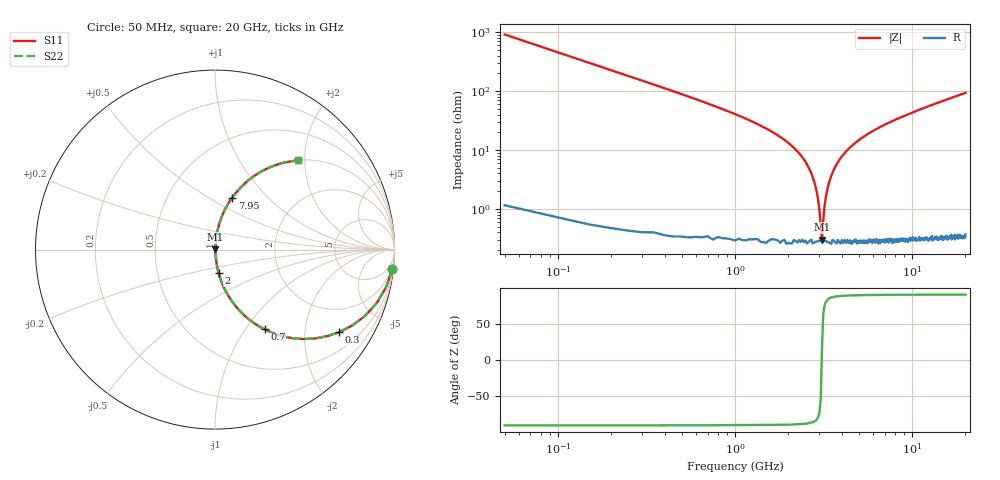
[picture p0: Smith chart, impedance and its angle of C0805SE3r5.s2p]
! AVX Thin Film Operation		Date: April 2012
! Description: Accu-P® Series, Thin Film, SMD, RF Capacitor
! Part Number: 08051J3R5ABTTR
!	100	MHz	-	20.05	GHz
!	Serial	Measurements
#	MHZ	S	MA	R	50
!	S11	S21	S12	S22
!	dB	Phase	dB	Phase	dB	Phase	dB	Phase
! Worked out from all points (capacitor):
!   400 points, 50 MHz to 20 GHz, reference 50 ohm
!   read as one part in series: C = 3.5 pF near 150 MHz
!   lowest |Z| = 303 mohm at 3.1 GHz (marker M1)
!   series resonance near 3.091 GHz, so ESL is about 760 pH
!   S11 on the Smith chart (normalised r, x): 50 MHz: 1, -18; 300 MHz: 1.01, -3.00; 700 MHz: 1.01, -1.23; 2 GHz: 1.01, -0.26; 7.95 GHz: 1.01, +0.64; 20 GHz: 1.01, +1.86
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50  0.994 -6.3  0.109 83.7  0.109 83.7  0.994 -6.3
100  0.976 -12.4  0.215 77.5  0.215 77.5  0.976 -12.4
150  0.949 -18.3  0.314 71.6  0.314 71.6  0.949 -18.3
300  0.831 -33.6  0.554 56.2  0.554 56.2  0.831 -33.6
700  0.523 -58.1  0.849 31.6  0.849 31.6  0.523 -58.1
1150  0.322 -70.7  0.944 18.8  0.944 18.8  0.322 -70.7
2000  0.131 -81.3  0.989 7.5  0.989 7.5  0.131 -81.3
2500  0.063 -83.9  0.995 3.6  0.995 3.6  0.063 -83.9
2800  0.029 -82.9  0.997 1.7  0.997 1.7  0.029 -82.9
2950  0.014 -77.7  0.997 0.8  0.997 0.8  0.014 -77.7
3100  0.002917 17.6  0.997 -0.1  0.997 -0.1  0.002917 17.6
3200  0.011 74.2  0.997 -0.6  0.997 -0.6  0.011 74.2
3400  0.028 82.7  0.997 -1.6  0.997 -1.6  0.028 82.7
3800  0.061 83.9  0.995 -3.5  0.995 -3.5  0.061 83.9
4450  0.109 82.3  0.991 -6.2  0.991 -6.2  0.109 82.3
5350  0.167 79.4  0.983 -9.6  0.983 -9.6  0.167 79.4
6700  0.243 75.3  0.967 -14.1  0.967 -14.1  0.243 75.3
7950  0.305 71.7  0.95 -17.8  0.95 -17.8  0.305 71.7
10050  0.396 66.2  0.915 -23.4  0.915 -23.4  0.396 66.2
13350  0.514 58.8  0.855 -30.9  0.855 -30.9  0.514 58.8
16700  0.608 52.3  0.792 -37.4  0.792 -37.4  0.608 52.3
20000  0.679 47.0  0.731 -42.8  0.731 -42.8  0.679 47.0
